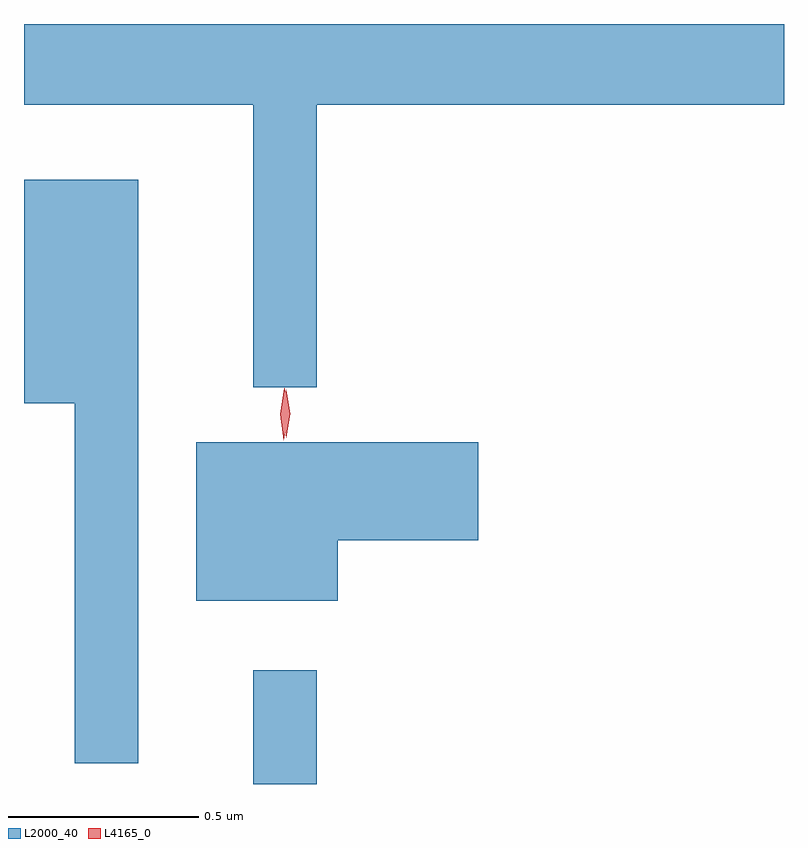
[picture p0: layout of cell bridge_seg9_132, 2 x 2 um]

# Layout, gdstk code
import gdstk
lib = gdstk.Library(unit=1e-6, precision=1e-09)
def R(c, l, rs):  # rectangles x0, y0, x1, y1
    for r in rs: c.add(gdstk.rectangle(r[:2], r[2:], *l))
def P(c, l, *ps):  # polygons
    for p in ps: c.add(gdstk.Polygon(p, *l))
L2000_40 = (2000, 40)
L4165_0 = (4165, 0)

bridge_seg9_132 = lib.new_cell('bridge_seg9_132')
R(bridge_seg9_132, L2000_40, [(1337.481,2023.329,1337.649,2023.628)])
P(bridge_seg9_132, L2000_40, [(1337.649,2025.116),(1338.878,2025.116),(1338.878,2025.329),(1336.878,2025.329),(1336.878,2025.116),(1337.481,2025.116),(1337.481,2024.373),(1337.649,2024.373)],
  [(1337.179,2024.919),(1336.878,2024.919),(1336.878,2024.331),(1337.011,2024.331),(1337.011,2023.383),(1337.179,2023.383)],
  [(1337.704,2023.971),(1338.074,2023.971),(1338.074,2024.229),(1337.331,2024.229),(1337.331,2023.811),(1337.704,2023.811)])
P(bridge_seg9_132, L4165_0, [(1337.561,2024.234),(1337.552,2024.302),(1337.563,2024.37),(1337.563,2024.37),(1337.564,2024.37),(1337.572,2024.302),(1337.562,2024.234),(1337.562,2024.234)],
  [(1337.568,2024.24),(1337.568,2024.24),(1337.558,2024.303),(1337.568,2024.366),(1337.568,2024.367),(1337.568,2024.366),(1337.578,2024.303),(1337.568,2024.24)])

lib.write_gds('bridge_seg9_132.gds')
